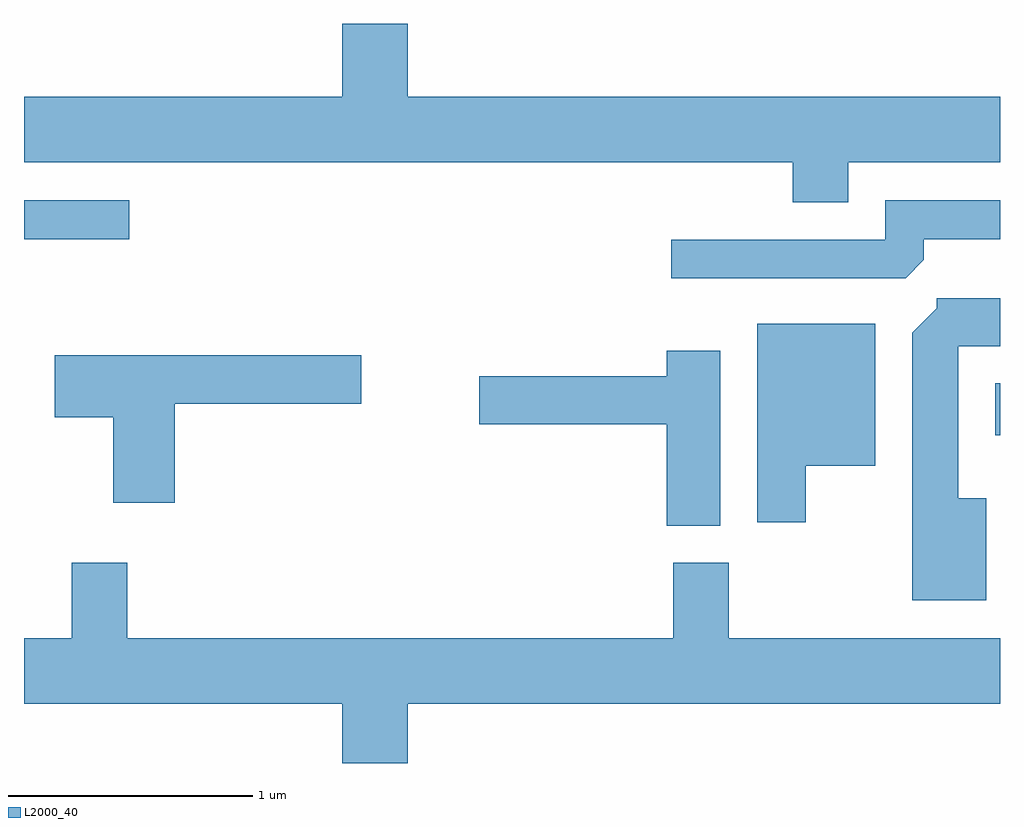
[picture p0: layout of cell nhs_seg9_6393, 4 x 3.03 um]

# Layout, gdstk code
import gdstk
lib = gdstk.Library(unit=1e-6, precision=1e-09)
def R(c, l, rs):  # rectangles x0, y0, x1, y1
    for r in rs: c.add(gdstk.rectangle(r[:2], r[2:], *l))
def P(c, l, *ps):  # polygons
    for p in ps: c.add(gdstk.Polygon(p, *l))
L2000_40 = (2000, 40)

nhs_seg9_6393 = lib.new_cell('nhs_seg9_6393')
R(nhs_seg9_6393, L2000_40, [(377.591,2021.776,377.611,2021.989), (373.611,2022.581,374.043,2022.739)])
P(nhs_seg9_6393, L2000_40, [(375.184,2023.464),(374.916,2023.464),(374.916,2023.164),(373.611,2023.164),(373.611,2022.896),(376.761,2022.896),(376.761,2022.731),(376.989,2022.731),(376.989,2022.896),(377.611,2022.896),(377.611,2023.164),(375.184,2023.164)],
  [(377.299,2022.497),(377.299,2022.581),(377.611,2022.581),(377.611,2022.739),(377.141,2022.739),(377.141,2022.579),(376.263,2022.579),(376.263,2022.421),(377.224,2022.421)],
  [(377.554,2021.519),(377.439,2021.519),(377.439,2022.141),(377.611,2022.141),(377.611,2022.339),(377.351,2022.339),(377.351,2022.297),(377.251,2022.197),(377.251,2021.101),(377.554,2021.101)],
  [(376.814,2021.651),(377.099,2021.651),(377.099,2022.234),(376.616,2022.234),(376.616,2021.421),(376.814,2021.421)],
  [(376.464,2022.124),(376.246,2022.124),(376.246,2022.019),(375.476,2022.019),(375.476,2021.821),(376.246,2021.821),(376.246,2021.406),(376.464,2021.406)],
  [(374.229,2021.906),(374.994,2021.906),(374.994,2022.104),(373.736,2022.104),(373.736,2021.851),(373.976,2021.851),(373.976,2021.501),(374.229,2021.501)],
  [(375.184,2020.676),(377.611,2020.676),(377.611,2020.944),(376.499,2020.944),(376.499,2021.254),(376.271,2021.254),(376.271,2020.944),(374.034,2020.944),(374.034,2021.254),(373.806,2021.254),(373.806,2020.944),(373.611,2020.944),(373.611,2020.676),(374.916,2020.676),(374.916,2020.432),(375.184,2020.432)])

lib.write_gds('nhs_seg9_6393.gds')
